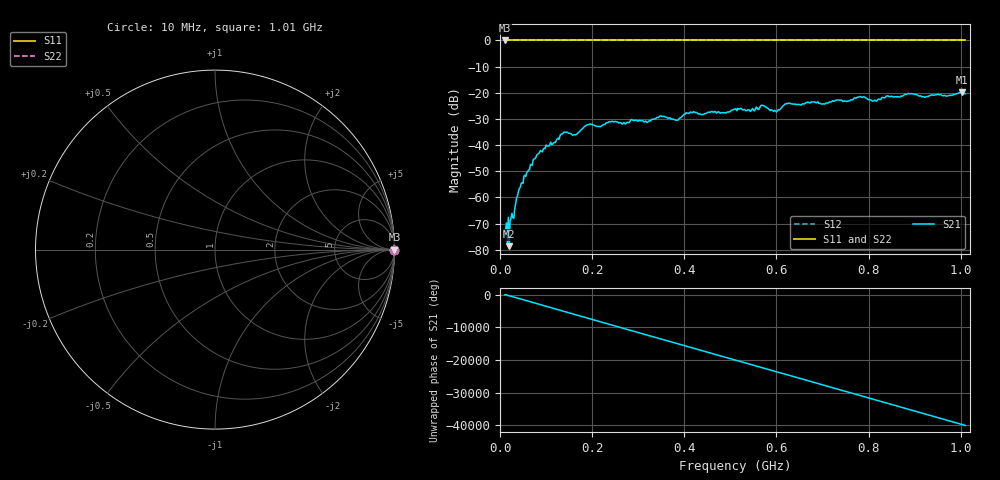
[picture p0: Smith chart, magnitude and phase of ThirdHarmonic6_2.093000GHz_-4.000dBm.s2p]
! 8/17/2025 1:02:45 AM
! C:\ANRITSUVNA\TEMP\TEMP.S2P
! CHANNEL.1
! TR.MEASUREMENT
! RAW.DATA
! RF.CORRECTION.OFF
! AVERAGING.OFF
! IF.BANDWIDTH: 5KHZ
! SWEEPTYPE:  FREQ.SWEEP(Linear)
! Reference Plane Port Info
! PORT:  PORT1  PORT2
! DISTANCE:  0  m  0  m
! TIME:  0  s  0  s
! PHASE.OFFSET:  0  deg.  0  deg.
! LOSS:  0  dB  0  dB
! REF.LOSS:  0  dB  0  dB
! REF.FREQ:  0  Hz  0  Hz
! Power Info
! POWER:  -20  dBm  -20  dBm
! EFF.POWER:  -20  dBm  -20  dBm
! SOURCE.ATTEN:  0  dB  0  dB
! TEST.ATTEN:  0  dB  0  dB
# GHZ S RI R 50.0
! FREQ.GHZ  S11RE  S11IM  S21RE  S21IM  S12RE  S12IM  S22RE  S22IM
!; PortSelection: Port_12
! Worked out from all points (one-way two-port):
!   501 points, 10 MHz to 1.01 GHz, reference 50 ohm
!   highest |S21| = -19.81 dB at 1.002 GHz (marker M1); lowest = -78.6 dB at 20 MHz (marker M2)
!   lowest |S11| = 0.0 dB at 10 MHz (marker M3)
!   |S11| at or under -10 dB: nowhere
!   |S22| runs from 0.0 to 0.0 dB; largest |S21 - S12| = 1.1
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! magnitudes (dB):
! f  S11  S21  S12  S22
! 10 MHz  0.0  -74.7  0.0  0.0
! 20 MHz  0.0  -78.6  0.0  0.0
! 44 MHz  0.0  -56.2  0.0  0.0
! 76 MHz  0.0  -45.2  0.0  0.0
! 136 MHz  0.0  -35.7  0.0  0.0
! 162 MHz  0.0  -36.0  0.0  0.0
! 178 MHz  0.0  -33.8  0.0  0.0
! 192 MHz  0.0  -32.1  0.0  0.0
! 322 MHz  0.0  -31.0  0.0  0.0
! 344 MHz  0.0  -29.5  0.0  0.0
! 384 MHz  0.0  -30.4  0.0  0.0
! 416 MHz  0.0  -27.6  0.0  0.0
! 510 MHz  0.0  -26.2  0.0  0.0
! 570 MHz  0.0  -24.8  0.0  0.0
! 598 MHz  0.0  -27.0  0.0  0.0
! 622 MHz  0.0  -24.1  0.0  0.0
! 678 MHz  0.0  -23.5  0.0  0.0
! 780 MHz  0.0  -21.5  0.0  0.0
! 814 MHz  0.0  -22.8  0.0  0.0
! 844 MHz  0.0  -21.4  0.0  0.0
! 1.002 GHz  0.0  -19.8  0.0  0.0
! 1.01 GHz  0.0  -20.3  0.0  0.0
